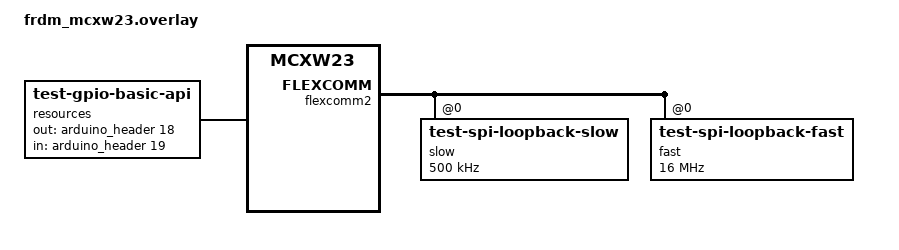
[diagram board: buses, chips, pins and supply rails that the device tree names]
/*
 * Copyright 2025 NXP
 *
 * SPDX-License-Identifier: Apache-2.0
 */

/* Connect J2 pins 6-7 */
&flexcomm2 {
	slow@0 {
		compatible = "test-spi-loopback-slow";
		reg = <0>;
		spi-max-frequency = <500000>;
	};

	fast@0 {
		compatible = "test-spi-loopback-fast";
		reg = <0>;
		spi-max-frequency = <16000000>;
	};
};

/ {
	resources {
		compatible = "test-gpio-basic-api";
		status = "okay";
		out-gpios = <&arduino_header 18 (GPIO_ACTIVE_HIGH | GPIO_PUSH_PULL | GPIO_PULL_UP)>;
		in-gpios = <&arduino_header 19 (GPIO_ACTIVE_HIGH | GPIO_PUSH_PULL | GPIO_PULL_UP)>;
	};
};
